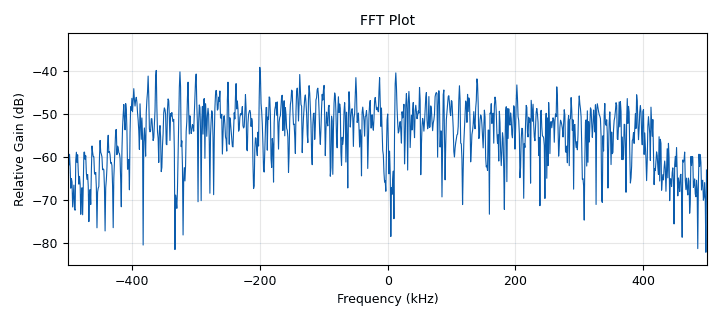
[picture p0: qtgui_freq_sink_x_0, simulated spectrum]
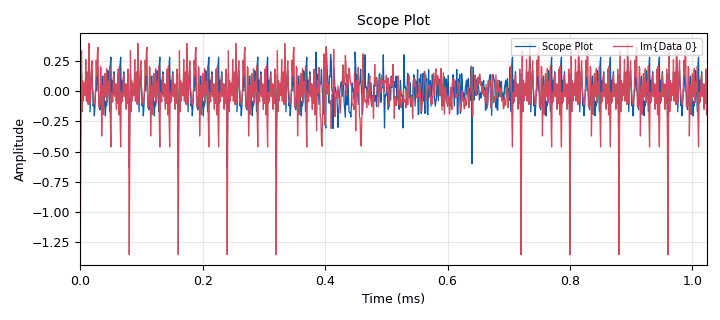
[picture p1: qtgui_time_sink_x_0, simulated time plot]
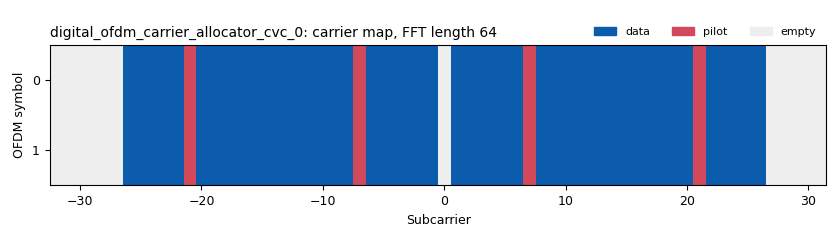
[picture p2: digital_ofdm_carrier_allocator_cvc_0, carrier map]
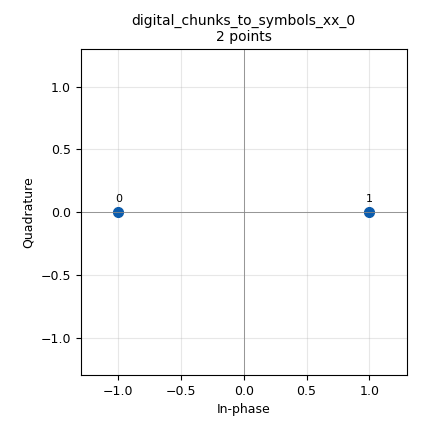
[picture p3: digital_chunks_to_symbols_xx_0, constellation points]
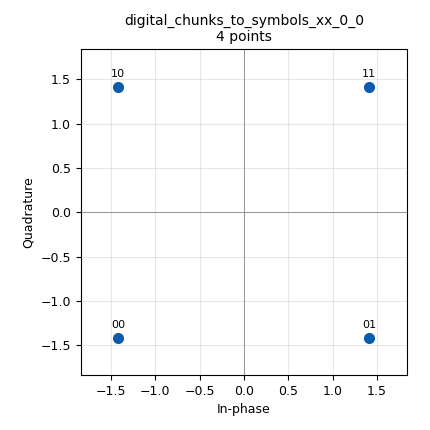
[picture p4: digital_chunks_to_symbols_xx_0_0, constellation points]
options:
  parameters:
    category: Custom
    description: Example of an OFDM Transmitter
    generate_options: qt_gui
    id: tx_ofdm_USRP
    output_language: python
    run_options: run
    title: OFDM Tx
  states: {}

blocks:
- name: bandwidth
  id: variable
  parameters:
    value: '56000000'
  states: {}
- name: center_freq
  id: variable_qtgui_range
  parameters:
    label: Center Frequency
    start: '70000000'
    step: '1000000'
    stop: '6000000000'
    value: '915000000'
  states: {}
- name: fft_len
  id: variable
  parameters:
    value: '64'
  states: {}
- name: gain
  id: variable_qtgui_range
  parameters:
    start: '0'
    step: '0.01'
    stop: '1'
    value: '0.7'
  states: {}
- name: header_formatter
  id: variable
  parameters:
    value: digital.packet_header_ofdm(occupied_carriers, n_syms=1, len_tag_key=length_tag_key, frame_len_tag_key=length_tag_key, bits_per_header_sym=header_mod.bits_per_symbol(), bits_per_payload_sym=payload_mod.bits_per_symbol(), scramble_header=False)
  states: {}
- name: header_mod
  id: variable
  parameters:
    value: digital.constellation_bpsk()
  states: {}
- name: length_tag_key
  id: variable
  parameters:
    value: '"packet_len"'
  states: {}
- name: multiply
  id: variable_qtgui_range
  parameters:
    start: '0'
    step: '0.01'
    stop: '1'
    value: '0.02'
  states: {}
- name: num_pkt
  id: variable_qtgui_range
  parameters:
    rangeType: int
    start: '1'
    step: '1'
    stop: '100'
    value: '10'
  states: {}
- name: occupied_carriers
  id: variable
  parameters:
    value: (list(range(-26, -21)) + list(range(-20, -7)) + list(range(-6, 0)) + list(range(1, 7)) + list(range(8, 21)) + list(range(22, 27)),)
  states: {}
- name: packet_len
  id: variable
  parameters:
    value: '64'
  states: {}
- name: payload_mod
  id: variable
  parameters:
    value: digital.constellation_qpsk()
  states: {}
- name: period
  id: variable_qtgui_range
  parameters:
    rangeType: int
    start: '0'
    step: '10'
    stop: '10000'
    value: '50'
  states: {}
- name: pilot_carriers
  id: variable
  parameters:
    value: ((-21, -7, 7, 21,),)
  states: {}
- name: pilot_symbols
  id: variable
  parameters:
    value: ((1, 1, 1, -1,),)
  states: {}
- name: rolloff
  id: variable
  parameters:
    value: '0'
  states: {}
- name: samp_rate
  id: variable
  parameters:
    value: 1e6
  states: {}
- name: sync_word1
  id: variable
  parameters:
    value: '[0., 0., 0., 0., 0., 0., 0., 1.41421356, 0., -1.41421356, 0., 1.41421356, 0., -1.41421356, 0., -1.41421356, 0., -1.41421356, 0., 1.41421356, 0., -1.41421356, 0., 1.41421356, 0., -1.41421356, 0., -1.41421356, 0., -1.41421356, 0., -1.41421356, 0., 1.41421356, 0., -1.41421356, 0., 1.41421356, 0., 1.41421356, 0., 1.41421356, 0., -1.41421356, 0., 1.41421356, 0., 1.41421356, 0., 1.41421356, 0., -1.41421356, 0., 1.41421356, 0., 1.41421356, 0., 1.41421356, 0., 0., 0., 0., 0., 0.]'
  states: {}
- name: sync_word2
  id: variable
  parameters:
    value: '[0, 0, 0, 0, 0, 0, -1, -1, -1, -1, 1, 1, -1, -1, -1, 1, -1, 1, 1, 1, 1, 1, -1, -1, -1, -1, -1, 1, -1, -1, 1, -1, 0, 1, -1, 1, 1, 1, -1, 1, 1, 1, -1, 1, 1, 1, 1, -1, 1, -1, -1, -1, 1, -1, 1, -1, -1, -1, -1, 0, 0, 0, 0, 0] '
  states: {}
- name: blocks_message_strobe_0_0
  id: blocks_message_strobe
  parameters:
    msg: pmt.cons(pmt.make_dict(), pmt.make_u8vector(packet_len*num_pkt, 1))
    period: period
  states: {}
- name: blocks_multiply_const_vxx_0
  id: blocks_multiply_const_vxx
  parameters:
    const: multiply
    type: complex
  states: {}
- name: blocks_repack_bits_bb_0
  id: blocks_repack_bits_bb
  parameters:
    endianness: gr.GR_LSB_FIRST
    k: '8'
    l: payload_mod.bits_per_symbol()
    len_tag_key: length_tag_key
  states: {}
- name: blocks_stream_to_tagged_stream_0
  id: blocks_stream_to_tagged_stream
  parameters:
    len_tag_key: length_tag_key
    packet_len: packet_len
    type: byte
  states: {}
- name: blocks_tag_debug_0
  id: blocks_tag_debug
  parameters:
    display: 'False'
    filter: '"packet_num"'
    type: byte
  states: {state: disabled}
- name: blocks_tag_gate_0
  id: blocks_tag_gate
  parameters:
    propagate_tags: 'False'
    type: complex
  states: {}
- name: blocks_tagged_stream_mux_0
  id: blocks_tagged_stream_mux
  parameters:
    lengthtagname: length_tag_key
    ninputs: '2'
    type: complex
  states: {}
- name: blocks_throttle_0
  id: blocks_throttle
  parameters:
    samples_per_second: samp_rate
    type: complex
  states: {state: disabled}
- name: digital_chunks_to_symbols_xx_0
  id: digital_chunks_to_symbols_xx
  parameters:
    dimension: '1'
    in_type: byte
    out_type: complex
    symbol_table: header_mod.points()
  states: {}
- name: digital_chunks_to_symbols_xx_0_0
  id: digital_chunks_to_symbols_xx
  parameters:
    dimension: '1'
    in_type: byte
    out_type: complex
    symbol_table: payload_mod.points()
  states: {}
- name: digital_crc32_bb_0
  id: digital_crc32_bb
  parameters:
    check: 'False'
    lengthtagname: length_tag_key
    packed: 'True'
  states: {}
- name: digital_ofdm_carrier_allocator_cvc_0
  id: digital_ofdm_carrier_allocator_cvc
  parameters:
    fft_len: fft_len
    len_tag_key: length_tag_key
    occupied_carriers: occupied_carriers
    output_is_shifted: 'True'
    pilot_carriers: pilot_carriers
    pilot_symbols: pilot_symbols
    sync_words: (sync_word1, sync_word2)
  states: {}
- name: digital_ofdm_cyclic_prefixer_0
  id: digital_ofdm_cyclic_prefixer
  parameters:
    cp_len: fft_len//4
    input_size: fft_len
    rolloff: rolloff
    tagname: length_tag_key
  states: {}
- name: digital_ofdm_rx_0
  id: digital_ofdm_rx
  parameters:
    cp_len: '16'
    fft_len: '64'
    header_mod: '"BPSK"'
    occupied_carriers: occupied_carriers
    packet_len_key: '"length"'
    payload_mod: '"QPSK"'
    pilot_carriers: pilot_carriers
    pilot_symbols: pilot_symbols
    sync_word1: (sync_word1)
    sync_word2: (sync_word2)
  states: {state: disabled}
- name: digital_packet_headergenerator_bb_0
  id: digital_packet_headergenerator_bb
  parameters:
    header_formatter: header_formatter.base()
    len_tag_key: length_tag_key
  states: {}
- name: fft_vxx_0
  id: fft_vxx
  parameters:
    fft_size: fft_len
    forward: 'False'
    shift: 'True'
    type: complex
    window: ()
  states: {}
- name: header_bits
  id: virtual_sink
  parameters:
    stream_id: Header Bits
  states: {}
- name: pdu_pdu_to_stream_x_0
  id: pdu_pdu_to_stream_x
  parameters:
    early_behavior: pdu.EARLY_BURST_APPEND
    type: byte
  states: {}
- name: qtgui_freq_sink_x_0
  id: qtgui_freq_sink_x
  parameters:
    autoscale: 'True'
    bw: samp_rate
    fc: '0'
    fftsize: '1024'
    name: FFT Plot
    showports: 'True'
    type: complex
  states: {}
- name: qtgui_time_sink_x_0
  id: qtgui_time_sink_x
  parameters:
    autoscale: 'True'
    label1: Scope Plot
    label2: ''
    name: Scope Plot
    size: '1024'
    srate: samp_rate
    type: complex
  states: {}
- name: uhd_usrp_sink_0
  id: uhd_usrp_sink
  parameters:
    ant0: '"TX/RX"'
    bw0: bandwidth
    center_freq0: center_freq
    gain0: gain
    gain_type0: normalized
    samp_rate: samp_rate
    sync: sync
    type: fc32
  states: {}
- name: virtual_sink_0
  id: virtual_sink
  parameters:
    stream_id: Time Domain
  states: {}
- name: virtual_sink_0_0
  id: virtual_sink
  parameters:
    stream_id: Payload Bits
  states: {}
- name: virtual_sink_0_0_0
  id: virtual_sink
  parameters:
    stream_id: Pre-OFDM
  states: {}
- name: virtual_source_0
  id: virtual_source
  parameters:
    stream_id: Header Bits
  states: {}
- name: virtual_source_0_0
  id: virtual_source
  parameters:
    stream_id: Payload Bits
  states: {}
- name: virtual_source_0_0_0
  id: virtual_source
  parameters:
    stream_id: Pre-OFDM
  states: {}
- name: virtual_source_0_0_0_0
  id: virtual_source
  parameters:
    stream_id: Time Domain
  states: {}

connections:
- [blocks_message_strobe_0_0, strobe, pdu_pdu_to_stream_x_0, pdus]
- [blocks_multiply_const_vxx_0, '0', blocks_tag_gate_0, '0']
- [blocks_multiply_const_vxx_0, '0', blocks_throttle_0, '0']
- [blocks_multiply_const_vxx_0, '0', uhd_usrp_sink_0, '0']
- [blocks_repack_bits_bb_0, '0', virtual_sink_0_0, '0']
- [blocks_stream_to_tagged_stream_0, '0', digital_crc32_bb_0, '0']
- [blocks_tag_gate_0, '0', qtgui_freq_sink_x_0, '0']
- [blocks_tag_gate_0, '0', qtgui_time_sink_x_0, '0']
- [blocks_tagged_stream_mux_0, '0', virtual_sink_0_0_0, '0']
- [blocks_throttle_0, '0', digital_ofdm_rx_0, '0']
- [digital_chunks_to_symbols_xx_0, '0', blocks_tagged_stream_mux_0, '0']
- [digital_chunks_to_symbols_xx_0_0, '0', blocks_tagged_stream_mux_0, '1']
- [digital_crc32_bb_0, '0', blocks_repack_bits_bb_0, '0']
- [digital_crc32_bb_0, '0', digital_packet_headergenerator_bb_0, '0']
- [digital_ofdm_carrier_allocator_cvc_0, '0', fft_vxx_0, '0']
- [digital_ofdm_cyclic_prefixer_0, '0', virtual_sink_0, '0']
- [digital_ofdm_rx_0, '0', blocks_tag_debug_0, '0']
- [digital_packet_headergenerator_bb_0, '0', header_bits, '0']
- [fft_vxx_0, '0', digital_ofdm_cyclic_prefixer_0, '0']
- [pdu_pdu_to_stream_x_0, '0', blocks_stream_to_tagged_stream_0, '0']
- [virtual_source_0, '0', digital_chunks_to_symbols_xx_0, '0']
- [virtual_source_0_0, '0', digital_chunks_to_symbols_xx_0_0, '0']
- [virtual_source_0_0_0, '0', digital_ofdm_carrier_allocator_cvc_0, '0']
- [virtual_source_0_0_0_0, '0', blocks_multiply_const_vxx_0, '0']

metadata:
  file_format: 1
  grc_version: 3.10.2.0
